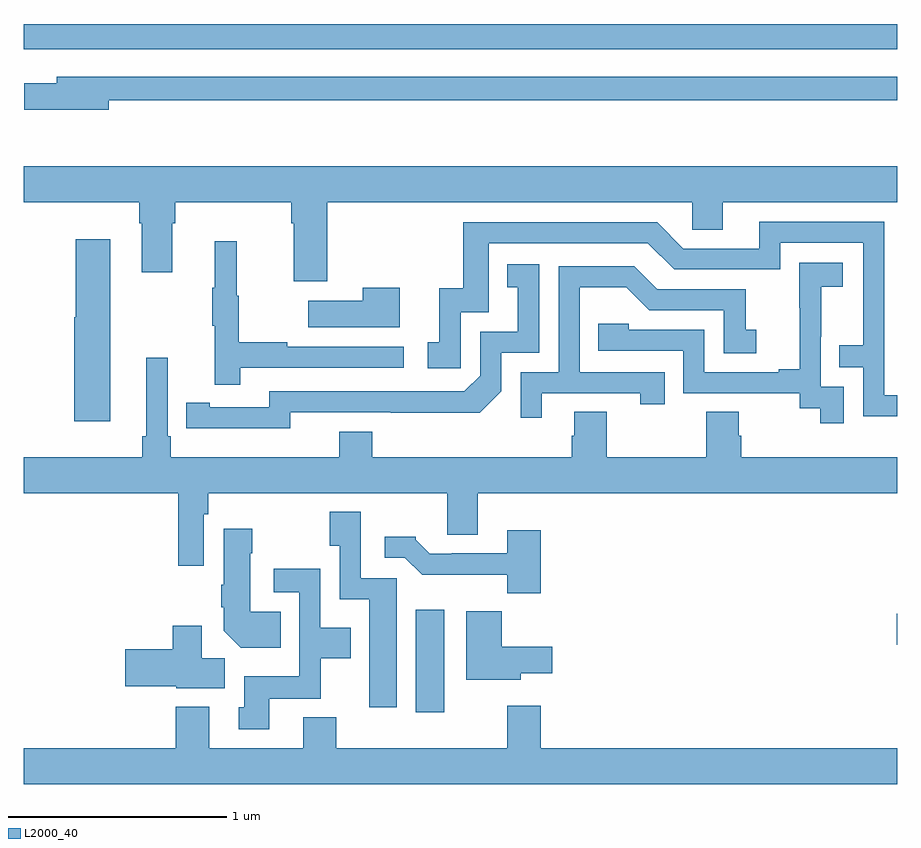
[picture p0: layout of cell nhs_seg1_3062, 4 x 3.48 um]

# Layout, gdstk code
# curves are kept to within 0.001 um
import gdstk
lib = gdstk.Library(unit=1e-6, precision=1e-09)
def R(c, l, rs):  # rectangles x0, y0, x1, y1
    for r in rs: c.add(gdstk.rectangle(r[:2], r[2:], *l))
def P(c, l, *ps):  # polygons
    for p in ps: c.add(gdstk.Polygon(p, *l))
L2000_40 = (2000, 40)

nhs_seg1_3062 = lib.new_cell('nhs_seg1_3062')
R(nhs_seg1_3062, L2000_40, [(278.795,542.736,278.926,543.205), (280.998,543.046,281,543.188), (277,545.772,281,545.888)])
P(nhs_seg1_3062, L2000_40, [(277.39,545.538),(281,545.538),(281,545.646),(277.151,545.646),(277.151,545.617),(277.002,545.617),(277.002,545.495),(277.39,545.495)],
  [(278.39,545.072),(280.062,545.072),(280.062,544.945),(280.201,544.945),(280.201,545.072),(281,545.072),(281,545.236),(277,545.236),(277,545.072),(277.529,545.072),(277.529,544.976),(277.541,544.976),(277.541,544.752),(277.681,544.752),(277.681,544.976),(277.694,544.976),(277.694,545.072),(278.225,545.072),(278.225,544.976),(278.237,544.976),(278.237,544.71),(278.39,544.71)],
  [(281,544.188),(280.941,544.188),(280.941,544.983),(280.367,544.983),(280.367,544.86),(280.02,544.86),(279.9,544.98),(279.013,544.98),(279.013,544.678),(278.903,544.678),(278.903,544.431),(278.85,544.431),(278.85,544.311),(279,544.311),(279,544.569),(279.129,544.569),(279.129,544.884),(279.858,544.884),(279.978,544.764),(280.464,544.764),(280.464,544.887),(280.845,544.887),(280.845,544.418),(280.735,544.418),(280.735,544.317),(280.845,544.317),(280.845,544.092),(281,544.092)],
  [(277.396,544.903),(277.238,544.903),(277.238,544.545),(277.232,544.545),(277.232,544.068),(277.396,544.068)],
  [(277.991,544.314),(278.74,544.314),(278.74,544.41),(278.207,544.41),(278.207,544.43),(277.984,544.43),(277.984,544.644),(277.976,544.644),(277.976,544.894),(277.874,544.894),(277.874,544.681),(277.863,544.681),(277.863,544.507),(277.874,544.507),(277.874,544.236),(277.991,544.236)],
  [(280.755,544.227),(280.65,544.227),(280.65,544.457),(280.652,544.457),(280.652,544.685),(280.75,544.685),(280.75,544.795),(280.552,544.795),(280.552,544.589),(280.553,544.589),(280.553,544.306),(280.457,544.306),(280.457,544.293),(280.116,544.293),(280.116,544.488),(279.771,544.488),(279.771,544.515),(279.631,544.515),(279.631,544.392),(280.02,544.392),(280.02,544.197),(280.554,544.197),(280.554,544.129),(280.647,544.129),(280.647,544.059),(280.755,544.059)],
  [(278.22,544.11),(279.088,544.109),(279.186,544.206),(279.186,544.383),(279.36,544.383),(279.36,544.789),(279.214,544.789),(279.214,544.683),(279.263,544.683),(279.263,544.479),(279.09,544.479),(279.09,544.278),(279.018,544.206),(278.124,544.206),(278.124,544.134),(277.852,544.134),(277.852,544.154),(277.744,544.154),(277.744,544.038),(278.22,544.037)],
  [(279.373,544.197),(279.824,544.197),(279.824,544.146),(279.935,544.146),(279.935,544.293),(279.546,544.293),(279.546,544.682),(279.76,544.682),(279.864,544.578),(280.206,544.578),(280.206,544.38),(280.354,544.38),(280.354,544.489),(280.305,544.489),(280.305,544.674),(279.901,544.674),(279.796,544.779),(279.45,544.779),(279.45,544.293),(279.276,544.293),(279.276,544.086),(279.373,544.086)],
  [(278.722,544.681),(278.552,544.681),(278.552,544.621),(278.303,544.621),(278.303,544.499),(278.722,544.499)],
  [(277.824,543.644),(277.844,543.644),(277.844,543.74),(278.939,543.74),(278.939,543.55),(279.079,543.55),(279.079,543.74),(281,543.74),(281,543.904),(280.286,543.904),(280.286,544.002),(280.273,544.002),(280.273,544.112),(280.126,544.112),(280.126,543.904),(279.669,543.904),(279.669,544.112),(279.521,544.112),(279.521,544.002),(279.509,544.002),(279.509,543.904),(278.597,543.904),(278.597,544.021),(278.444,544.021),(278.444,543.904),(277.673,543.904),(277.673,544),(277.659,544),(277.659,544.36),(277.562,544.36),(277.562,544),(277.543,544),(277.543,543.904),(277,543.904),(277,543.74),(277.708,543.74),(277.708,543.408),(277.824,543.408)],
  [(278.707,543.351),(278.544,543.351),(278.544,543.655),(278.401,543.655),(278.401,543.499),(278.448,543.499),(278.448,543.254),(278.582,543.254),(278.582,542.76),(278.707,542.76)],
  [(278.177,543.196),(278.038,543.196),(278.038,543.464),(278.046,543.464),(278.046,543.577),(277.916,543.577),(277.916,543.32),(277.904,543.32),(277.904,543.217),(277.916,543.217),(277.916,543.11),(277.994,543.032),(278.177,543.032)],
  [(279.368,543.571),(279.215,543.571),(279.215,543.465),(278.959,543.465),(278.959,543.462),(278.86,543.462),(278.796,543.526),(278.796,543.541),(278.652,543.541),(278.652,543.444),(278.745,543.444),(278.824,543.366),(279.213,543.366),(279.213,543.281),(279.368,543.281)],
  [(278.125,542.798),(278.361,542.798),(278.361,542.984),(278.497,542.984),(278.497,543.124),(278.358,543.124),(278.358,543.394),(278.145,543.394),(278.145,543.285),(278.262,543.285),(278.262,542.902),(278.009,542.902),(278.009,542.76),(277.985,542.76),(277.985,542.658),(278.125,542.658)],
  [(279.277,542.915),(279.421,542.915),(279.421,543.037),(279.188,543.037),(279.188,543.199),(279.026,543.199),(279.026,542.885),(279.277,542.885)],
  [(277.921,542.984),(277.816,542.984),(277.816,543.133),(277.682,543.133),(277.682,543.026),(277.464,543.026),(277.464,542.855),(277.698,542.855),(277.698,542.846),(277.921,542.846)],
  [(281,542.572),(279.368,542.572),(279.368,542.767),(279.215,542.767),(279.215,542.572),(278.432,542.572),(278.432,542.713),(278.279,542.713),(278.279,542.572),(277.849,542.572),(277.849,542.761),(277.697,542.761),(277.697,542.572),(277,542.572),(277,542.408),(281,542.408)])

lib.write_gds('nhs_seg1_3062.gds')
